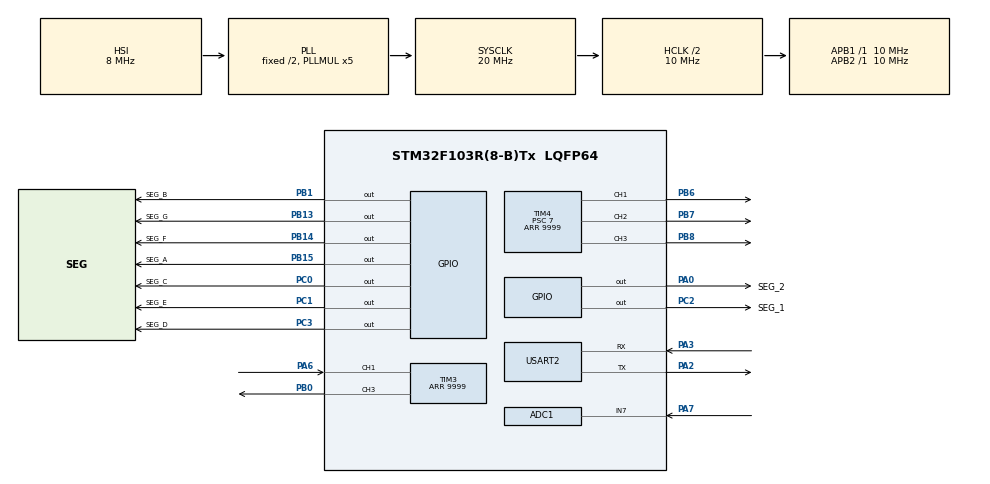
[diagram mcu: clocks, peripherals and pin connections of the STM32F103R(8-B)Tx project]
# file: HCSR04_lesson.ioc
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ADC1.Channel-1\#ChannelRegularConversion=ADC_CHANNEL_7
ADC1.ContinuousConvMode=ENABLE
ADC1.NbrOfConversionFlag=1
ADC1.Rank-1\#ChannelRegularConversion=1
ADC1.SamplingTime-1\#ChannelRegularConversion=ADC_SAMPLETIME_239CYCLES_5
ADC1.master=1
Mcu.Family=STM32F1
Mcu.Name=STM32F103R(8-B)Tx
Mcu.Package=LQFP64
NVIC.PriorityGroup=NVIC_PRIORITYGROUP_4
NVIC.TIM2_IRQn=true\:6\:0\:true\:false\:true\:true\:true\:true
NVIC.TIM3_IRQn=true\:6\:0\:true\:false\:true\:true\:true\:true
NVIC.TIM4_IRQn=true\:6\:0\:true\:false\:true\:true\:true\:true
PA0-WKUP.GPIO_Label=SEG_2
PA0-WKUP.GPIO_ModeDefaultOutputPP=GPIO_MODE_OUTPUT_OD
PA0-WKUP.GPIO_PuPd=GPIO_NOPULL
PA0-WKUP.PinState=GPIO_PIN_SET
PA0-WKUP.Signal=GPIO_Output
PA13.Mode=Serial_Wire
PA13.Signal=SYS_JTMS-SWDIO
PA14.Mode=Serial_Wire
PA14.Signal=SYS_JTCK-SWCLK
PA2.Mode=Asynchronous
PA2.Signal=USART2_TX
PA3.Mode=Asynchronous
PA3.Signal=USART2_RX
PA6.Signal=S_TIM3_CH1
PA7.Signal=ADCx_IN7
PB0.Signal=S_TIM3_CH3
PB1.GPIO_Label=SEG_B
PB1.Signal=GPIO_Output
PB13.GPIO_Label=SEG_G
PB13.Signal=GPIO_Output
PB14.GPIO_Label=SEG_F
PB14.Signal=GPIO_Output
PB15.GPIO_Label=SEG_A
PB15.Signal=GPIO_Output
PB6.Signal=S_TIM4_CH1
PB7.Signal=S_TIM4_CH2
PB8.Signal=S_TIM4_CH3
PC0.GPIO_Label=SEG_C
PC0.Signal=GPIO_Output
PC1.GPIO_Label=SEG_E
PC1.Signal=GPIO_Output
PC2.GPIO_Label=SEG_1
PC2.GPIO_ModeDefaultOutputPP=GPIO_MODE_OUTPUT_OD
PC2.GPIO_PuPd=GPIO_NOPULL
PC2.PinState=GPIO_PIN_SET
PC2.Signal=GPIO_Output
PC3.GPIO_Label=SEG_D
PC3.Signal=GPIO_Output
ProjectManager.HeapSize=0x200
ProjectManager.StackSize=0x400
ProjectManager.TargetToolchain=STM32CubeIDE
RCC.AHBCLKDivider=RCC_SYSCLK_DIV2
RCC.AHBFreq_Value=10000000
RCC.APB1Freq_Value=10000000
RCC.APB1TimFreq_Value=10000000
RCC.APB2Freq_Value=10000000
RCC.APB2TimFreq_Value=10000000
RCC.HCLKFreq_Value=10000000
RCC.PLLMUL=RCC_PLL_MUL5
RCC.SYSCLKFreq_VALUE=20000000
RCC.SYSCLKSource=RCC_SYSCLKSOURCE_PLLCLK
RCC.USBFreq_Value=20000000
SH.ADCx_IN7.0=ADC1_IN7,IN7
SH.S_TIM3_CH1.0=TIM3_CH1,Input_Capture1_from_TI1
SH.S_TIM3_CH3.0=TIM3_CH3,PWM Generation3 CH3
SH.S_TIM4_CH1.0=TIM4_CH1,PWM Generation1 CH1
SH.S_TIM4_CH2.0=TIM4_CH2,PWM Generation2 CH2
SH.S_TIM4_CH3.0=TIM4_CH3,PWM Generation3 CH3
TIM2.Period=99
TIM2.Prescaler=999
TIM3.Channel-Input_Capture1_from_TI1=TIM_CHANNEL_1
TIM3.Channel-Input_Capture2_from_TI1_63=TIM_CHANNEL_2
TIM3.Channel-PWM\ Generation3\ CH3=TIM_CHANNEL_3
TIM3.ICPolarity_CH2=TIM_INPUTCHANNELPOLARITY_FALLING
TIM3.Period=9999
TIM3.Pulse-PWM\ Generation3\ CH3=100
TIM4.Channel-PWM\ Generation1\ CH1=TIM_CHANNEL_1
TIM4.Channel-PWM\ Generation2\ CH2=TIM_CHANNEL_2
TIM4.Channel-PWM\ Generation3\ CH3=TIM_CHANNEL_3
TIM4.OCPolarity_1=TIM_OCPOLARITY_LOW
TIM4.OCPolarity_2=TIM_OCPOLARITY_LOW
TIM4.OCPolarity_3=TIM_OCPOLARITY_LOW
TIM4.Period=9999
TIM4.Prescaler=7
TIM4.Pulse-PWM\ Generation1\ CH1=0
TIM4.Pulse-PWM\ Generation2\ CH2=0
TIM4.Pulse-PWM\ Generation3\ CH3=0
USART2.VirtualMode=VM_ASYNC
VP_RTC_VS_RTC_Activate.Mode=RTC_Enabled
VP_TIM2_VS_ClockSourceINT.Mode=Internal
VP_TIM3_VS_ClockSourceINT.Mode=Internal
VP_TIM3_VS_indirect_ch1.Mode=Input_Capture2_from_TI1_63
VP_TIM4_VS_ClockSourceINT.Mode=Internal
board=custom

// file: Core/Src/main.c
/* USER CODE BEGIN Header */
/**
  ******************************************************************************
  * @file           : main.c
  * @brief          : Main program body
  ******************************************************************************
  * @attention
  *
  * Copyright (c) 2024 STMicroelectronics.
  * All rights reserved.
  *
  * This software is licensed under terms that can be found in the LICENSE file
  * in the root directory of this software component.
  * If no LICENSE file comes with this software, it is provided AS-IS.
  *
  ******************************************************************************
  */
/* USER CODE END Header */
#include "main.h"
#include "adc.h"
#include "rtc.h"
#include "tim.h"
#include "usart.h"
#include "gpio.h"

/* USER CODE BEGIN Includes */
#include <stdio.h>
#include "seg7.h"
/* USER CODE END Includes */

void SystemClock_Config(void);

/* USER CODE BEGIN 0 */
static float calc_sound_speed(void)
{
	uint32_t adc_value = HAL_ADC_GetValue(&hadc1);
	float temp = adc_value * 330.0f / 4096.0f;
	float speed = 331.8f + 0.6f * temp;
	return speed;
}

static void control_rgb_diode(uint32_t distance)
{
	uint32_t red_light = 600 - distance * 60;
	uint32_t green_light = distance * 30;

	if (red_light < 0)
		red_light = 0;

	__HAL_TIM_SET_COMPARE(&htim4, TIM_CHANNEL_1, red_light);
	__HAL_TIM_SET_COMPARE(&htim4, TIM_CHANNEL_3, green_light);
}

int __io_putchar(int ch)
{
	if (ch == '\n')
		__io_putchar('\r');

	HAL_UART_Transmit(&huart2, (uint8_t*)&ch, 1, HAL_MAX_DELAY);
	return 1;
}

void HAL_TIM_PeriodElapsedCallback(TIM_HandleTypeDef *htim)
{
	if (htim == &htim2) {
		SEG7_Update();
	} else if (htim == &htim3) {
		uint32_t start = HAL_TIM_ReadCapturedValue(&htim3, TIM_CHANNEL_1);
		uint32_t stop = HAL_TIM_ReadCapturedValue(&htim3, TIM_CHANNEL_2);
		uint32_t distance = (stop - start) * calc_sound_speed() / 20000.0f;

		control_rgb_diode(distance);

		SEG7_Show(distance / 10); // send in centimeters
	}
}
/* USER CODE END 0 */

int main(void)
{

  /* MCU Configuration--------------------------------------------------------*/

  /* Reset of all peripherals, Initializes the Flash interface and the Systick. */
  HAL_Init();

  /* Configure the system clock */
  SystemClock_Config();

  /* Initialize all configured peripherals */
  MX_GPIO_Init();
  MX_USART2_UART_Init();
  MX_RTC_Init();
  MX_TIM2_Init();
  MX_TIM3_Init();
  MX_ADC1_Init();
  MX_TIM4_Init();
  /* USER CODE BEGIN 2 */
  HAL_TIM_Base_Start_IT(&htim2);
  HAL_TIM_Base_Start_IT(&htim3);
  HAL_TIM_Base_Start_IT(&htim4);
  HAL_TIM_IC_Start(&htim3, TIM_CHANNEL_1);
  HAL_TIM_IC_Start(&htim3, TIM_CHANNEL_2);
  HAL_TIM_PWM_Start(&htim3, TIM_CHANNEL_3);
  HAL_TIM_PWM_Start(&htim4, TIM_CHANNEL_1);
  HAL_TIM_PWM_Start(&htim4, TIM_CHANNEL_2);
  HAL_TIM_PWM_Start(&htim4, TIM_CHANNEL_3);

  HAL_ADCEx_Calibration_Start(&hadc1);
  HAL_ADC_Start(&hadc1);
  /* USER CODE END 2 */

  /* Infinite loop */
  /* USER CODE BEGIN WHILE */

  __HAL_TIM_SET_COMPARE(&htim4, TIM_CHANNEL_1, 0);
  __HAL_TIM_SET_COMPARE(&htim4, TIM_CHANNEL_2, 0);
  __HAL_TIM_SET_COMPARE(&htim4, TIM_CHANNEL_3, 0);

  while (1)
  {
    /* USER CODE END WHILE */

  }
}

void SystemClock_Config(void)
{
  RCC_OscInitTypeDef RCC_OscInitStruct = {0};
  RCC_ClkInitTypeDef RCC_ClkInitStruct = {0};
  RCC_PeriphCLKInitTypeDef PeriphClkInit = {0};

  /** Initializes the RCC Oscillators according to the specified parameters
  * in the RCC_OscInitTypeDef structure.
  */
  RCC_OscInitStruct.OscillatorType = RCC_OSCILLATORTYPE_HSI|RCC_OSCILLATORTYPE_LSI;
  RCC_OscInitStruct.HSIState = RCC_HSI_ON;
  RCC_OscInitStruct.HSICalibrationValue = RCC_HSICALIBRATION_DEFAULT;
  RCC_OscInitStruct.LSIState = RCC_LSI_ON;
  RCC_OscInitStruct.PLL.PLLState = RCC_PLL_ON;
  RCC_OscInitStruct.PLL.PLLSource = RCC_PLLSOURCE_HSI_DIV2;
  RCC_OscInitStruct.PLL.PLLMUL = RCC_PLL_MUL5;
  if (HAL_RCC_OscConfig(&RCC_OscInitStruct) != HAL_OK)
  {
    Error_Handler();
  }

  /** Initializes the CPU, AHB and APB buses clocks
  */
  RCC_ClkInitStruct.ClockType = RCC_CLOCKTYPE_HCLK|RCC_CLOCKTYPE_SYSCLK
                              |RCC_CLOCKTYPE_PCLK1|RCC_CLOCKTYPE_PCLK2;
  RCC_ClkInitStruct.SYSCLKSource = RCC_SYSCLKSOURCE_PLLCLK;
  RCC_ClkInitStruct.AHBCLKDivider = RCC_SYSCLK_DIV2;
  RCC_ClkInitStruct.APB1CLKDivider = RCC_HCLK_DIV1;
  RCC_ClkInitStruct.APB2CLKDivider = RCC_HCLK_DIV1;

  if (HAL_RCC_ClockConfig(&RCC_ClkInitStruct, FLASH_LATENCY_0) != HAL_OK)
  {
    Error_Handler();
  }
  PeriphClkInit.PeriphClockSelection = RCC_PERIPHCLK_RTC|RCC_PERIPHCLK_ADC;
  PeriphClkInit.RTCClockSelection = RCC_RTCCLKSOURCE_LSI;
  PeriphClkInit.AdcClockSelection = RCC_ADCPCLK2_DIV2;
  if (HAL_RCCEx_PeriphCLKConfig(&PeriphClkInit) != HAL_OK)
  {
    Error_Handler();
  }
}

void Error_Handler(void)
{
  __disable_irq();
  while (1)
  {
  }
}
